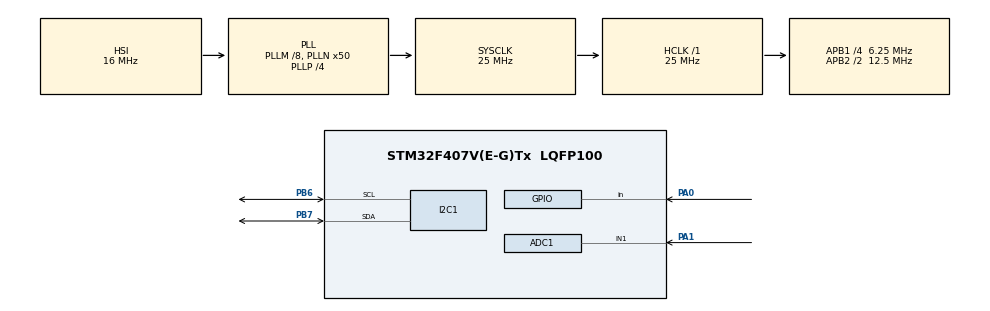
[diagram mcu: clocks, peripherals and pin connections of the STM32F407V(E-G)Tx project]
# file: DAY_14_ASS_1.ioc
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ADC1.Channel-0\#ChannelRegularConversion=ADC_CHANNEL_1
ADC1.ClockPrescaler=ADC_CLOCK_SYNC_PCLK_DIV6
ADC1.NbrOfConversionFlag=1
ADC1.Rank-0\#ChannelRegularConversion=1
ADC1.SamplingTime-0\#ChannelRegularConversion=ADC_SAMPLETIME_3CYCLES
ADC1.master=1
Mcu.Family=STM32F4
Mcu.Name=STM32F407V(E-G)Tx
Mcu.Package=LQFP100
NVIC.PriorityGroup=NVIC_PRIORITYGROUP_0
PA0-WKUP.Signal=GPIO_Input
PA1.Signal=ADCx_IN1
PB6.Mode=I2C
PB6.Signal=I2C1_SCL
PB7.Mode=I2C
PB7.Signal=I2C1_SDA
ProjectManager.HeapSize=0x200
ProjectManager.StackSize=0x400
ProjectManager.TargetToolchain=STM32CubeIDE
RCC.48MHZClocksFreq_Value=14285714.285714285
RCC.AHBFreq_Value=25000000
RCC.APB1CLKDivider=RCC_HCLK_DIV4
RCC.APB1Freq_Value=6250000
RCC.APB1TimFreq_Value=12500000
RCC.APB2CLKDivider=RCC_HCLK_DIV2
RCC.APB2Freq_Value=12500000
RCC.APB2TimFreq_Value=25000000
RCC.CortexFreq_Value=25000000
RCC.HCLKFreq_Value=25000000
RCC.HSE_VALUE=8000000
RCC.HSI_VALUE=16000000
RCC.LSE_VALUE=32768
RCC.PLLM=8
RCC.PLLN=50
RCC.PLLP=RCC_PLLP_DIV4
RCC.PLLQ=7
RCC.SYSCLKFreq_VALUE=25000000
RCC.SYSCLKSource=RCC_SYSCLKSOURCE_PLLCLK
RCC.VCOOutputFreq_Value=100000000
SH.ADCx_IN1.0=ADC1_IN1,IN1
board=STM32F407G-DISC1

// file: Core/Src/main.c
/* USER CODE BEGIN Header */
/**
  ******************************************************************************
  * @file           : main.c
  * @brief          : Main program body
  ******************************************************************************
  * @attention
  *
  * Copyright (c) 2026 STMicroelectronics.
  * All rights reserved.
  *
  * This software is licensed under terms that can be found in the LICENSE file
  * in the root directory of this software component.
  * If no LICENSE file comes with this software, it is provided AS-IS.
  *
  ******************************************************************************
  */
/* USER CODE END Header */
#include "main.h"

/* USER CODE BEGIN Includes */
#include<stdio.h>
#include<string.h>
#include"lcd.h"
/* USER CODE END Includes */

ADC_HandleTypeDef hadc1;

I2C_HandleTypeDef hi2c1;

void SystemClock_Config(void);
static void MX_GPIO_Init(void);
static void MX_ADC1_Init(void);
static void MX_I2C1_Init(void);

int main(void)
{

  /* MCU Configuration--------------------------------------------------------*/

  /* Reset of all peripherals, Initializes the Flash interface and the Systick. */
  HAL_Init();

  /* Configure the system clock */
  SystemClock_Config();

  /* Initialize all configured peripherals */
  MX_GPIO_Init();
  MX_ADC1_Init();
  MX_I2C1_Init();
  /* USER CODE BEGIN 2 */
  lcd_init();
  /* USER CODE END 2 */

  /* Infinite loop */
  /* USER CODE BEGIN WHILE */
  while (1)
  {
	  if(HAL_GPIO_ReadPin(GPIOA, GPIO_PIN_0) == GPIO_PIN_SET)
	  {
		  HAL_Delay(200);

	      HAL_ADC_Start(&hadc1);
	      HAL_ADC_PollForConversion(&hadc1, HAL_MAX_DELAY);
	      uint32_t result = HAL_ADC_GetValue(&hadc1);
	      HAL_ADC_Stop(&hadc1);

	      char str[16];
	      sprintf(str, "ADC=%lu", result);
	      lcd_write_byte(LCD_CMD, LCD_CLEAR);
	      HAL_Delay(20);
	      lcd_puts(LCD_LINE1, str);
	  }
  }
    /* USER CODE END WHILE */

}

void SystemClock_Config(void)
{
  RCC_OscInitTypeDef RCC_OscInitStruct = {0};
  RCC_ClkInitTypeDef RCC_ClkInitStruct = {0};

  /** Configure the main internal regulator output voltage
  */
  __HAL_RCC_PWR_CLK_ENABLE();
  __HAL_PWR_VOLTAGESCALING_CONFIG(PWR_REGULATOR_VOLTAGE_SCALE1);

  /** Initializes the RCC Oscillators according to the specified parameters
  * in the RCC_OscInitTypeDef structure.
  */
  RCC_OscInitStruct.OscillatorType = RCC_OSCILLATORTYPE_HSI;
  RCC_OscInitStruct.HSIState = RCC_HSI_ON;
  RCC_OscInitStruct.HSICalibrationValue = RCC_HSICALIBRATION_DEFAULT;
  RCC_OscInitStruct.PLL.PLLState = RCC_PLL_ON;
  RCC_OscInitStruct.PLL.PLLSource = RCC_PLLSOURCE_HSI;
  RCC_OscInitStruct.PLL.PLLM = 8;
  RCC_OscInitStruct.PLL.PLLN = 50;
  RCC_OscInitStruct.PLL.PLLP = RCC_PLLP_DIV4;
  RCC_OscInitStruct.PLL.PLLQ = 7;
  if (HAL_RCC_OscConfig(&RCC_OscInitStruct) != HAL_OK)
  {
    Error_Handler();
  }

  /** Initializes the CPU, AHB and APB buses clocks
  */
  RCC_ClkInitStruct.ClockType = RCC_CLOCKTYPE_HCLK|RCC_CLOCKTYPE_SYSCLK
                              |RCC_CLOCKTYPE_PCLK1|RCC_CLOCKTYPE_PCLK2;
  RCC_ClkInitStruct.SYSCLKSource = RCC_SYSCLKSOURCE_PLLCLK;
  RCC_ClkInitStruct.AHBCLKDivider = RCC_SYSCLK_DIV1;
  RCC_ClkInitStruct.APB1CLKDivider = RCC_HCLK_DIV4;
  RCC_ClkInitStruct.APB2CLKDivider = RCC_HCLK_DIV2;

  if (HAL_RCC_ClockConfig(&RCC_ClkInitStruct, FLASH_LATENCY_0) != HAL_OK)
  {
    Error_Handler();
  }
}

static void MX_ADC1_Init(void)
{

  ADC_ChannelConfTypeDef sConfig = {0};

  /** Configure the global features of the ADC (Clock, Resolution, Data Alignment and number of conversion)
  */
  hadc1.Instance = ADC1;
  hadc1.Init.ClockPrescaler = ADC_CLOCK_SYNC_PCLK_DIV6;
  hadc1.Init.Resolution = ADC_RESOLUTION_12B;
  hadc1.Init.ScanConvMode = DISABLE;
  hadc1.Init.ContinuousConvMode = DISABLE;
  hadc1.Init.DiscontinuousConvMode = DISABLE;
  hadc1.Init.ExternalTrigConvEdge = ADC_EXTERNALTRIGCONVEDGE_NONE;
  hadc1.Init.ExternalTrigConv = ADC_SOFTWARE_START;
  hadc1.Init.DataAlign = ADC_DATAALIGN_RIGHT;
  hadc1.Init.NbrOfConversion = 1;
  hadc1.Init.DMAContinuousRequests = DISABLE;
  hadc1.Init.EOCSelection = ADC_EOC_SINGLE_CONV;
  if (HAL_ADC_Init(&hadc1) != HAL_OK)
  {
    Error_Handler();
  }

  /** Configure for the selected ADC regular channel its corresponding rank in the sequencer and its sample time.
  */
  sConfig.Channel = ADC_CHANNEL_1;
  sConfig.Rank = 1;
  sConfig.SamplingTime = ADC_SAMPLETIME_3CYCLES;
  if (HAL_ADC_ConfigChannel(&hadc1, &sConfig) != HAL_OK)
  {
    Error_Handler();
  }

}

static void MX_I2C1_Init(void)
{

  hi2c1.Instance = I2C1;
  hi2c1.Init.ClockSpeed = 100000;
  hi2c1.Init.DutyCycle = I2C_DUTYCYCLE_2;
  hi2c1.Init.OwnAddress1 = 0;
  hi2c1.Init.AddressingMode = I2C_ADDRESSINGMODE_7BIT;
  hi2c1.Init.DualAddressMode = I2C_DUALADDRESS_DISABLE;
  hi2c1.Init.OwnAddress2 = 0;
  hi2c1.Init.GeneralCallMode = I2C_GENERALCALL_DISABLE;
  hi2c1.Init.NoStretchMode = I2C_NOSTRETCH_DISABLE;
  if (HAL_I2C_Init(&hi2c1) != HAL_OK)
  {
    Error_Handler();
  }

}

static void MX_GPIO_Init(void)
{
  GPIO_InitTypeDef GPIO_InitStruct = {0};

  /* GPIO Ports Clock Enable */
  __HAL_RCC_GPIOA_CLK_ENABLE();
  __HAL_RCC_GPIOB_CLK_ENABLE();

  /*Configure GPIO pin : PA0 */
  GPIO_InitStruct.Pin = GPIO_PIN_0;
  GPIO_InitStruct.Mode = GPIO_MODE_INPUT;
  GPIO_InitStruct.Pull = GPIO_NOPULL;
  HAL_GPIO_Init(GPIOA, &GPIO_InitStruct);

}

void Error_Handler(void)
{
  __disable_irq();
  while (1)
  {
  }
}
